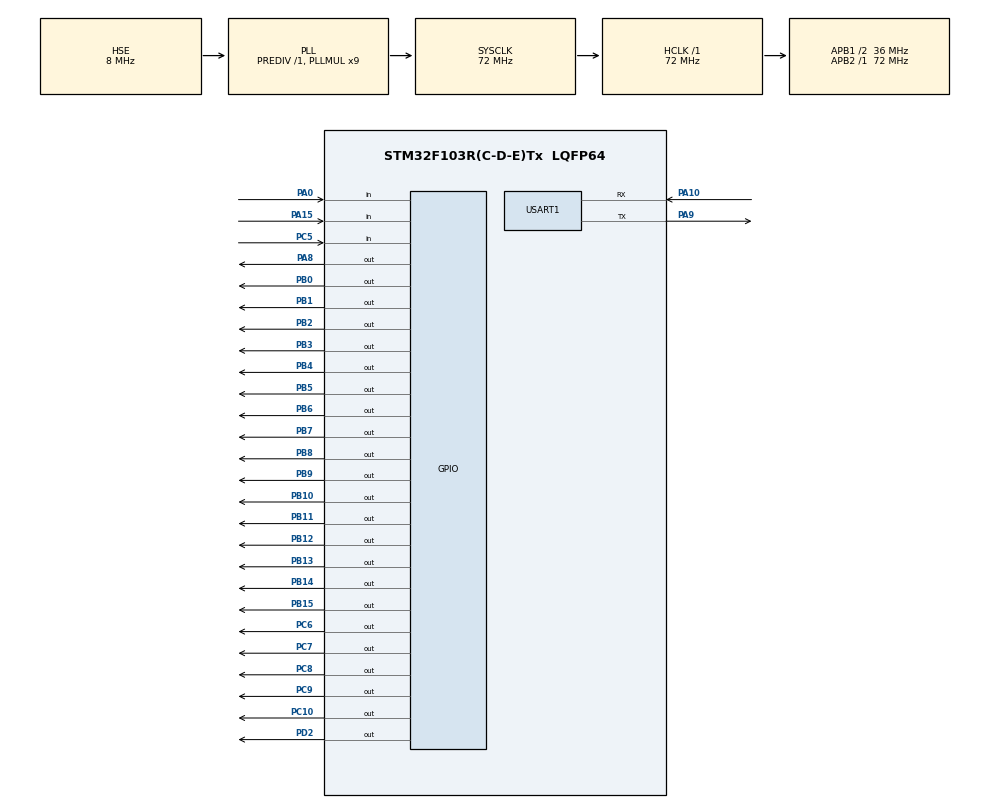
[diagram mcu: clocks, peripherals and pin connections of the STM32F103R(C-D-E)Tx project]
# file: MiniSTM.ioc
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Dma.Request0=USART1_TX
Dma.USART1_TX.0.Direction=DMA_MEMORY_TO_PERIPH
Dma.USART1_TX.0.Instance=DMA1_Channel4
Dma.USART1_TX.0.MemDataAlignment=DMA_MDATAALIGN_BYTE
Dma.USART1_TX.0.MemInc=DMA_MINC_ENABLE
Dma.USART1_TX.0.Mode=DMA_NORMAL
Dma.USART1_TX.0.PeriphDataAlignment=DMA_PDATAALIGN_BYTE
Dma.USART1_TX.0.PeriphInc=DMA_PINC_DISABLE
Dma.USART1_TX.0.Priority=DMA_PRIORITY_MEDIUM
Mcu.Family=STM32F1
Mcu.Name=STM32F103R(C-D-E)Tx
Mcu.Package=LQFP64
NVIC.DMA1_Channel4_IRQn=true\:0\:0\:false\:false\:true\:false\:true\:true
NVIC.PriorityGroup=NVIC_PRIORITYGROUP_4
PA0-WKUP.GPIO_PuPd=GPIO_PULLDOWN
PA0-WKUP.Signal=GPIO_Input
PA10.Mode=Asynchronous
PA10.Signal=USART1_RX
PA13.Mode=Serial_Wire
PA13.Signal=SYS_JTMS-SWDIO
PA14.Mode=Serial_Wire
PA14.Signal=SYS_JTCK-SWCLK
PA15.GPIO_PuPd=GPIO_PULLUP
PA15.Signal=GPIO_Input
PA8.GPIO_PuPd=GPIO_PULLUP
PA8.Signal=GPIO_Output
PA9.Mode=Asynchronous
PA9.Signal=USART1_TX
PB0.GPIO_PuPd=GPIO_PULLUP
PB0.GPIO_Speed=GPIO_SPEED_FREQ_HIGH
PB0.Signal=GPIO_Output
PB1.GPIO_PuPd=GPIO_PULLUP
PB1.GPIO_Speed=GPIO_SPEED_FREQ_HIGH
PB1.Signal=GPIO_Output
PB10.GPIO_PuPd=GPIO_PULLUP
PB10.GPIO_Speed=GPIO_SPEED_FREQ_HIGH
PB10.Signal=GPIO_Output
PB11.GPIO_PuPd=GPIO_PULLUP
PB11.GPIO_Speed=GPIO_SPEED_FREQ_HIGH
PB11.Signal=GPIO_Output
PB12.GPIO_PuPd=GPIO_PULLUP
PB12.GPIO_Speed=GPIO_SPEED_FREQ_HIGH
PB12.Signal=GPIO_Output
PB13.GPIO_PuPd=GPIO_PULLUP
PB13.GPIO_Speed=GPIO_SPEED_FREQ_HIGH
PB13.Signal=GPIO_Output
PB14.GPIO_PuPd=GPIO_PULLUP
PB14.GPIO_Speed=GPIO_SPEED_FREQ_HIGH
PB14.Signal=GPIO_Output
PB15.GPIO_PuPd=GPIO_PULLUP
PB15.GPIO_Speed=GPIO_SPEED_FREQ_HIGH
PB15.Signal=GPIO_Output
PB2.GPIO_PuPd=GPIO_PULLUP
PB2.GPIO_Speed=GPIO_SPEED_FREQ_HIGH
PB2.Signal=GPIO_Output
PB3.GPIO_PuPd=GPIO_PULLUP
PB3.GPIO_Speed=GPIO_SPEED_FREQ_HIGH
PB3.Signal=GPIO_Output
PB4.GPIO_PuPd=GPIO_PULLUP
PB4.GPIO_Speed=GPIO_SPEED_FREQ_HIGH
PB4.Signal=GPIO_Output
PB5.GPIO_PuPd=GPIO_PULLUP
PB5.GPIO_Speed=GPIO_SPEED_FREQ_HIGH
PB5.Signal=GPIO_Output
PB6.GPIO_PuPd=GPIO_PULLUP
PB6.GPIO_Speed=GPIO_SPEED_FREQ_HIGH
PB6.Signal=GPIO_Output
PB7.GPIO_PuPd=GPIO_PULLUP
PB7.GPIO_Speed=GPIO_SPEED_FREQ_HIGH
PB7.Signal=GPIO_Output
PB8.GPIO_PuPd=GPIO_PULLUP
PB8.GPIO_Speed=GPIO_SPEED_FREQ_HIGH
PB8.Signal=GPIO_Output
PB9.GPIO_PuPd=GPIO_PULLUP
PB9.GPIO_Speed=GPIO_SPEED_FREQ_HIGH
PB9.Signal=GPIO_Output
PC10.GPIO_PuPd=GPIO_PULLUP
PC10.GPIO_Speed=GPIO_SPEED_FREQ_HIGH
PC10.Signal=GPIO_Output
PC14-OSC32_IN.Mode=LSE-External-Oscillator
PC14-OSC32_IN.Signal=RCC_OSC32_IN
PC15-OSC32_OUT.Mode=LSE-External-Oscillator
PC15-OSC32_OUT.Signal=RCC_OSC32_OUT
PC5.GPIO_PuPd=GPIO_PULLUP
PC5.Signal=GPIO_Input
PC6.GPIO_PuPd=GPIO_PULLUP
PC6.GPIO_Speed=GPIO_SPEED_FREQ_HIGH
PC6.Signal=GPIO_Output
PC7.GPIO_PuPd=GPIO_PULLUP
PC7.GPIO_Speed=GPIO_SPEED_FREQ_HIGH
PC7.Signal=GPIO_Output
PC8.GPIO_PuPd=GPIO_PULLUP
PC8.GPIO_Speed=GPIO_SPEED_FREQ_HIGH
PC8.Signal=GPIO_Output
PC9.GPIO_PuPd=GPIO_PULLUP
PC9.GPIO_Speed=GPIO_SPEED_FREQ_HIGH
PC9.Signal=GPIO_Output
PD0-OSC_IN.Mode=HSE-External-Oscillator
PD0-OSC_IN.Signal=RCC_OSC_IN
PD1-OSC_OUT.Mode=HSE-External-Oscillator
PD1-OSC_OUT.Signal=RCC_OSC_OUT
PD2.GPIO_PuPd=GPIO_PULLUP
PD2.Signal=GPIO_Output
ProjectManager.HeapSize=0x200
ProjectManager.StackSize=0x400
ProjectManager.TargetToolchain=MDK-ARM V5.32
RCC.AHBFreq_Value=72000000
RCC.APB1CLKDivider=RCC_HCLK_DIV2
RCC.APB1Freq_Value=36000000
RCC.APB1TimFreq_Value=72000000
RCC.APB2Freq_Value=72000000
RCC.APB2TimFreq_Value=72000000
RCC.HCLKFreq_Value=72000000
RCC.PLLMUL=RCC_PLL_MUL9
RCC.PLLSourceVirtual=RCC_PLLSOURCE_HSE
RCC.SYSCLKFreq_VALUE=72000000
RCC.SYSCLKSource=RCC_SYSCLKSOURCE_PLLCLK
RCC.USBFreq_Value=72000000
TIM4.AutoReloadPreload=TIM_AUTORELOAD_PRELOAD_DISABLE
TIM4.Channel-Output\ Compare1\ No\ Output=TIM_CHANNEL_1
TIM4.Period=1000
TIM4.Prescaler=8399
USART1.VirtualMode=VM_ASYNC
VP_TIM4_VS_ClockSourceITR.Mode=TriggerSource_ITR0
board=custom

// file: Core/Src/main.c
/* USER CODE BEGIN Header */
/**
 ******************************************************************************
 * @file           : main.c
 * @brief          : Main program body
 ******************************************************************************
 * @attention
 *
 * Copyright (c) 2022 STMicroelectronics.
 * All rights reserved.
 *
 * This software is licensed under terms that can be found in the LICENSE file
 * in the root directory of this software component.
 * If no LICENSE file comes with this software, it is provided AS-IS.
 *
 ******************************************************************************
 */
/* USER CODE END Header */
#include "main.h"
#include "dma.h"
#include "tim.h"
#include "usart.h"
#include "gpio.h"

/* USER CODE BEGIN Includes */
#include "led.h"
#include "key.h"
#include "lcd.h"
#include "uart.h"
#include "usmart.h"
/* USER CODE END Includes */

/* USER CODE BEGIN PD */
#define SEND_BUF_SIZE 7000
/* USER CODE END PD */

/* USER CODE BEGIN PV */
uint8_t SendBuff[SEND_BUF_SIZE]; //发送数据缓冲区
const uint8_t TEXT_TO_SEND[] = {"ALIENTEK Mini STM32 DMA 串口实验"};
/* USER CODE END PV */

void SystemClock_Config(void);

int main(void)
{
	/* USER CODE BEGIN 1 */
	uint16_t i;
	uint8_t t = 0;
	uint8_t j, mask = 0;
	float pro = 0;
	/* USER CODE END 1 */

	/* MCU Configuration--------------------------------------------------------*/

	/* Reset of all peripherals, Initializes the Flash interface and the Systick. */
	HAL_Init();

	/* Configure the system clock */
	SystemClock_Config();

	/* Initialize all configured peripherals */
	MX_GPIO_Init();
	MX_DMA_Init();
	MX_USART1_UART_Init();
	MX_TIM4_Init();
	/* USER CODE BEGIN 2 */
	LCD_Init();

	HAL_NVIC_EnableIRQ(TIM4_IRQn);
	HAL_NVIC_SetPriority(TIM4_IRQn, 9, 0);
	HAL_TIM_Base_Start_IT(&htim4);

	HAL_NVIC_EnableIRQ(USART1_IRQn);
	HAL_NVIC_SetPriority(USART1_IRQn, 9, 0);
	HAL_UART_Receive_IT(&huart1, (uint8_t *)aRxBuffer, RXBUFFERSIZE);

	POINT_COLOR = RED;
	LCD_ShowString(30, 50, 200, 16, 16, "Mini STM32");
	LCD_ShowString(30, 70, 200, 16, 16, "DMA TEST");
	LCD_ShowString(30, 90, 200, 16, 16, "ATOM@ALIENTEK");
	LCD_ShowString(30, 110, 200, 16, 16, "2019/11/15");
	LCD_ShowString(30, 130, 200, 16, 16, "KEY0:Start");

	POINT_COLOR = BLUE;
	j = sizeof(TEXT_TO_SEND);
	for (i = 0; i < SEND_BUF_SIZE; i++)
	{
		if (t >= j)
		{
			if (mask)
			{
				SendBuff[i] = 0x0a;
				t = 0;
			}
			else
			{
				SendBuff[i] = 0x0d;
				mask++;
			}
		}
		else
		{
			mask = 0;
			SendBuff[i] = TEXT_TO_SEND[t];
			t++;
		}
	}
	POINT_COLOR = BLUE;
	i = 0;
	/* USER CODE END 2 */

	/* Infinite loop */
	/* USER CODE BEGIN WHILE */
	while (1)
	{
		t = KEY_Scan(0);
		if (t == KEY0_PRES)
		{
			printf("\r\nDMA DATA:\r\n");
			LCD_ShowString(30, 150, 200, 16, 16, "Start Transimit....");
			LCD_ShowString(30, 170, 200, 16, 16, "   %");

			HAL_UART_Transmit_DMA(&huart1, SendBuff, SEND_BUF_SIZE);
			while (1)
			{
				if (__HAL_DMA_GET_FLAG(&hdma_usart1_tx, DMA_FLAG_TC4))
				{
					__HAL_DMA_CLEAR_FLAG(&hdma_usart1_tx, DMA_FLAG_TC4);
					HAL_UART_DMAStop(&huart1);
					break;
				}
				pro = __HAL_DMA_GET_COUNTER(&hdma_usart1_tx);
				pro = 1 - pro / SEND_BUF_SIZE;
				pro *= 100;
				LCD_ShowNum(30, 170, pro, 3, 16);
			}
			LCD_ShowNum(30, 170, 100, 3, 16);
			LCD_ShowString(30, 150, 200, 16, 16, "Transimit Finished!");
		}
		i++;
		HAL_Delay(10);
		if (i == 20)
		{
			LED0 = !LED0;
			i = 0;
		}
		/* USER CODE END WHILE */

	}
}

void SystemClock_Config(void)
{
	RCC_OscInitTypeDef RCC_OscInitStruct = {0};
	RCC_ClkInitTypeDef RCC_ClkInitStruct = {0};

	/** Initializes the RCC Oscillators according to the specified parameters
	 * in the RCC_OscInitTypeDef structure.
	 */
	RCC_OscInitStruct.OscillatorType = RCC_OSCILLATORTYPE_HSE;
	RCC_OscInitStruct.HSEState = RCC_HSE_ON;
	RCC_OscInitStruct.HSEPredivValue = RCC_HSE_PREDIV_DIV1;
	RCC_OscInitStruct.HSIState = RCC_HSI_ON;
	RCC_OscInitStruct.PLL.PLLState = RCC_PLL_ON;
	RCC_OscInitStruct.PLL.PLLSource = RCC_PLLSOURCE_HSE;
	RCC_OscInitStruct.PLL.PLLMUL = RCC_PLL_MUL9;
	if (HAL_RCC_OscConfig(&RCC_OscInitStruct) != HAL_OK)
	{
		Error_Handler();
	}

	/** Initializes the CPU, AHB and APB buses clocks
	 */
	RCC_ClkInitStruct.ClockType = RCC_CLOCKTYPE_HCLK | RCC_CLOCKTYPE_SYSCLK | RCC_CLOCKTYPE_PCLK1 | RCC_CLOCKTYPE_PCLK2;
	RCC_ClkInitStruct.SYSCLKSource = RCC_SYSCLKSOURCE_PLLCLK;
	RCC_ClkInitStruct.AHBCLKDivider = RCC_SYSCLK_DIV1;
	RCC_ClkInitStruct.APB1CLKDivider = RCC_HCLK_DIV2;
	RCC_ClkInitStruct.APB2CLKDivider = RCC_HCLK_DIV1;

	if (HAL_RCC_ClockConfig(&RCC_ClkInitStruct, FLASH_LATENCY_2) != HAL_OK)
	{
		Error_Handler();
	}
}

void Error_Handler(void)
{
	__disable_irq();
	while (1)
	{
	}
}
